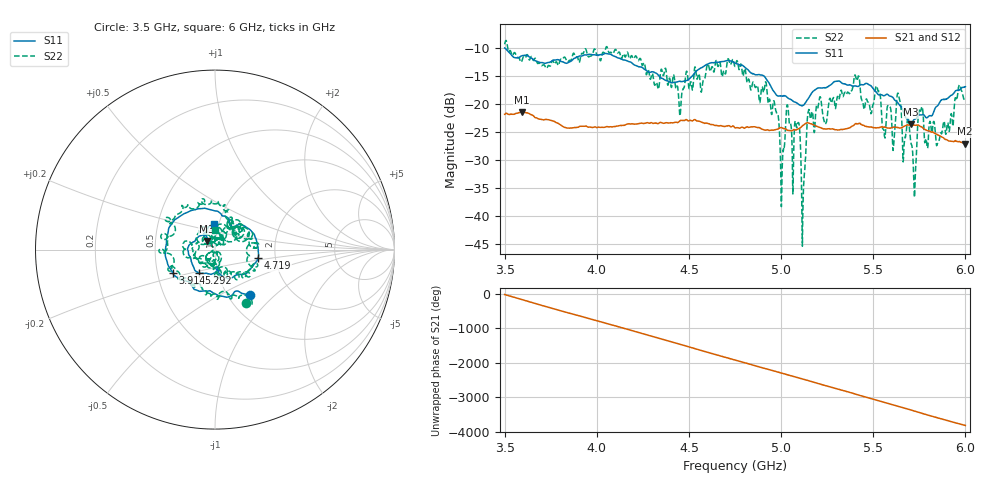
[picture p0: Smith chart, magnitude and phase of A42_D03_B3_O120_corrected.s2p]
! Created with skrf 1.9.0 (http://scikit-rf.org).
# Hz S RI R 50.0
!freq ReS11 ImS11 ReS21 ImS21 ReS12 ImS12 ReS22 ImS22
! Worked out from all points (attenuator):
!   1601 points, 3.5 GHz to 6 GHz, reference 50 ohm
!   highest |S21| = -21.45 dB at 3.592 GHz (marker M1); lowest = -27.1 dB at 5.998 GHz (marker M2)
!   lowest |S11| = -23.6 dB at 5.703 GHz (marker M3), VSWR 1.14, Z = 45.5 + j4.44 ohm
!   |S11| at or under -10 dB: 3.501 GHz to end of sweep
!   |S22| runs from -45.4 to -8.6 dB; largest |S21 - S12| = 0.00099
!   S11 on the Smith chart (normalised r, x): 3.5 GHz: 1.26, -0.70; 3.914 GHz: 0.60, -0.17; 4.719 GHz: 1.62, -0.16; 5.292 GHz: 0.81, -0.22; 6 GHz: 0.95, +0.28
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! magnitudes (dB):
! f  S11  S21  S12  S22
! 3.5 GHz  -10.0  -21.8  -21.8  -9.3
! 3.592 GHz  -11.4  -21.5  -21.5  -12.4
! 3.914 GHz  -11.4  -24.0  -23.9  -11.3
! 3.917 GHz  -11.4  -24.0  -24.0  -11.0
! 4.334 GHz  -14.8  -23.5  -23.4  -17.3
! 4.719 GHz  -12.2  -23.9  -23.9  -12.3
! 4.75 GHz  -12.7  -24.3  -24.2  -13.3
! 4.969 GHz  -18.1  -24.6  -24.5  -20.8
! 5.006 GHz  -18.6  -24.2  -24.2  -31.2
! 5.034 GHz  -18.8  -24.7  -24.6  -20.1
! 5.088 GHz  -19.8  -24.5  -24.5  -24.0
! 5.12 GHz  -20.2  -23.8  -23.7  -36.4
! 5.145 GHz  -19.1  -23.3  -23.3  -21.6
! 5.167 GHz  -18.0  -23.6  -23.5  -21.5
! 5.292 GHz  -15.9  -24.6  -24.5  -20.4
! 5.584 GHz  -18.5  -24.3  -24.3  -20.4
! 5.703 GHz  -23.6  -23.8  -23.8  -26.6
! 5.723 GHz  -22.7  -23.7  -23.7  -36.7
! 5.756 GHz  -21.9  -24.0  -23.9  -21.3
! 5.852 GHz  -20.2  -25.6  -25.5  -26.8
! 5.998 GHz  -16.9  -27.1  -27.0  -19.4
! 6 GHz  -16.9  -27.1  -27.0  -19.4
